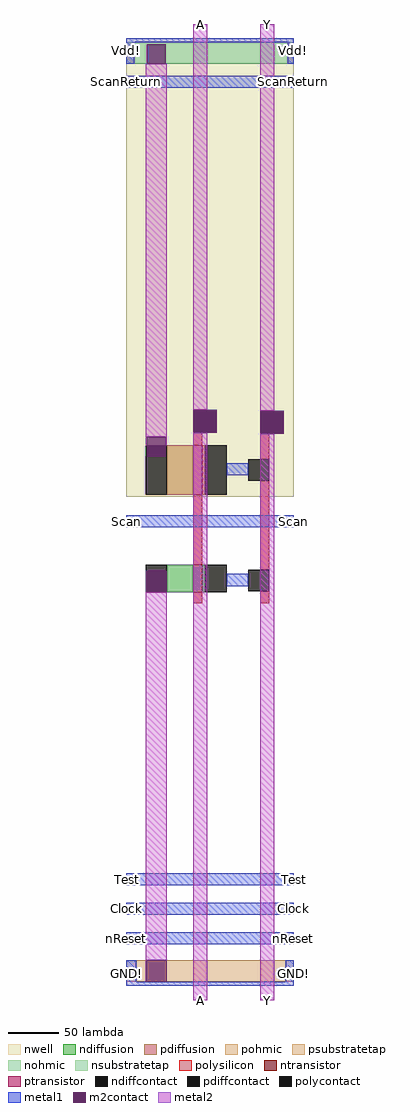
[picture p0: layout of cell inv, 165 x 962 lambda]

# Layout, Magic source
magic
tech tsmc180
<< nwell >>
rect 0 496 165 948
<< polysilicon >>
rect 66 547 75 559
rect 132 533 141 558
rect 66 429 75 498
rect 132 424 141 512
rect 66 391 75 402
rect 132 391 141 403
<< ndiffusion >>
rect 40 402 66 429
rect 75 402 78 429
<< pdiffusion >>
rect 40 498 66 547
rect 75 498 78 547
<< pohmic >>
rect 0 18 10 39
rect 157 18 165 39
<< nohmic >>
rect 0 923 8 944
rect 159 923 165 944
<< ntransistor >>
rect 66 402 75 429
<< ptransistor >>
rect 66 498 75 547
<< polycontact >>
rect 66 559 89 582
rect 132 558 155 581
rect 120 512 141 533
rect 120 403 141 424
<< ndiffcontact >>
rect 19 402 40 429
rect 78 402 99 429
<< pdiffcontact >>
rect 19 498 40 547
rect 78 498 99 547
<< psubstratetap >>
rect 10 18 157 39
<< nsubstratetap >>
rect 8 923 159 944
<< metal1 >>
rect 0 944 165 948
rect 0 923 8 944
rect 159 923 165 944
rect 0 899 165 911
rect 99 517 120 529
rect 0 466 165 478
rect 99 408 120 420
rect 0 113 165 125
rect 0 84 165 96
rect 0 55 165 67
rect 0 18 10 39
rect 157 18 165 39
rect 0 14 165 18
<< m2contact >>
rect 20 923 39 942
rect 66 559 89 582
rect 132 558 155 581
rect 20 547 39 555
rect 20 536 39 547
rect 19 402 40 423
rect 19 18 40 39
<< metal2 >>
rect 19 555 40 923
rect 19 547 20 555
rect 39 547 40 555
rect 66 582 80 962
rect 132 581 146 962
rect 19 39 40 402
rect 66 0 80 559
rect 132 0 146 558
<< labels >>
rlabel metal1 0 14 0 39 3 GND!
rlabel metal1 165 14 165 39 7 GND!
rlabel metal1 0 923 0 948 3 Vdd!
rlabel metal1 165 923 165 948 7 Vdd!
rlabel metal1 0 899 0 911 3 ScanReturn
rlabel metal1 0 55 0 67 3 nReset
rlabel metal1 0 84 0 96 3 Clock
rlabel metal1 0 113 0 125 3 Test
rlabel metal1 165 466 165 478 7 Scan
rlabel metal1 0 466 0 478 3 Scan
rlabel metal1 165 55 165 67 7 nReset
rlabel metal1 165 84 165 96 7 Clock
rlabel metal1 165 113 165 125 7 Test
rlabel metal1 165 899 165 911 7 ScanReturn
rlabel metal2 66 962 80 962 5 A
rlabel metal2 132 962 146 962 5 Y
rlabel metal2 66 0 80 0 1 A
rlabel metal2 132 0 146 0 1 Y
<< end >>
